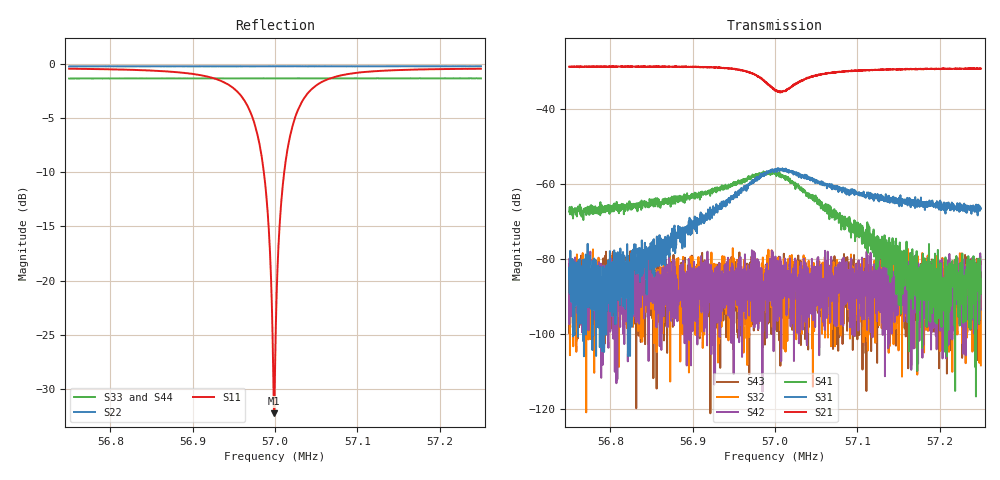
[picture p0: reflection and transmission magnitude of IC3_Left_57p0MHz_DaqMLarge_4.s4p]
#  HZ  S  DB  R  50.00
! Rohde & Schwarz Vector Network Analyzer
! Rohde-Schwarz,ZNB8-4Port,1311601044102961,2.82
! Created: UTC 2/12/2019, 1:26:48 PM
! freq[Hz]  db:S11  ang:S11  db:S12  ang:S12  db:S13  ang:S13  db:S14  ang:S14
!  db:S21  ang:S21  db:S22  ang:S22  db:S23  ang:S23  db:S24  ang:S24
!  db:S31  ang:S31  db:S32  ang:S32  db:S33  ang:S33  db:S34  ang:S34
!  db:S41  ang:S41  db:S42  ang:S42  db:S43  ang:S43  db:S44  ang:S44
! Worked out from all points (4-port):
!   2001 points, 56.75 MHz to 57.25 MHz, reference 50 ohm
!   strongest paths, dB at 56.75 MHz, 56.875 MHz, 57 MHz, 57.125 MHz, 57.25 MHz:
!     S21: -28.7, -28.8, -34.9, -29.5, -29.2
!     S31: -85.2, -76.6, -56.1, -63.0, -66.6
!     S41: -67.4, -64.1, -57.1, -74.9, -89.3
!     S42: -85.4, -94.8, -88.0, -80.6, -93.6
!     S32: -82.7, -91.5, -93.7, -84.6, -108.4
!     S43: -82.2, -90.2, -88.3, -89.4, -80.7
!   lowest |S11| = -32.2 dB at 56.999 MHz (marker M1), VSWR 1.05, Z = 52.1 + j1.39 ohm
!   |S11| at or under -10 dB: 56.98645 MHz to 57.01119 MHz (24.74 kHz wide, 0.0434 % of centre)
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5.675e7  -0.46 -134.1  -28.73 60.4  -90.02 10.2  -67.00 -150.0
         -28.74 59.7  -0.25 75.2  -103.82 -33.2  -92.83 -11.8
         -85.23 120.1  -82.65 144.6  -1.37 24.2  -84.18 152.5
         -67.40 -150.5  -85.40 86.3  -82.24 -47.3  -1.37 17.3
5.696125e7  -3.22 176.1  -29.74 34.2  -61.34 -20.7  -59.88 167.2
            -29.80 34.1  -0.25 71.6  -109.88 68.1  -83.95 12.3
            -61.79 -21.3  -86.14 90.4  -1.36 21.8  -89.67 -125.7
            -58.99 170.9  -86.74 41.0  -96.73 11.2  -1.36 14.8
5.698675e7  -10.18 144.3  -32.42 26.9  -57.48 -45.1  -57.21 140.4
            -32.58 27.4  -0.24 71.2  -89.10 -107.0  -83.11 -6.2
            -57.41 -42.5  -82.94 -177.6  -1.35 21.5  -90.25 2.1
            -57.53 141.0  -87.06 46.8  -86.18 -138.0  -1.36 14.5
5.6999e7  -32.23 33.1  -34.79 35.9  -56.16 -63.9  -56.96 124.6
          -34.79 34.4  -0.24 71.0  -81.99 107.0  -84.30 10.8
          -56.23 -65.9  -85.57 176.8  -1.35 21.3  -84.39 -55.0
          -57.17 123.9  -86.41 -49.4  -88.56 154.3  -1.35 14.3
5.701125e7  -9.96 -67.1  -35.22 54.8  -56.25 -84.8  -58.06 101.2
            -35.25 56.8  -0.23 70.8  -93.91 -21.0  -82.79 141.7
            -56.10 -83.5  -87.92 87.8  -1.35 21.2  -82.95 -112.3
            -58.55 101.8  -89.30 -75.6  -93.96 -3.7  -1.36 14.2
5.703675e7  -3.02 -99.7  -32.03 68.5  -57.86 -113.2  -62.18 74.8
            -32.02 69.3  -0.25 70.3  -92.80 -54.5  -82.55 -127.5
            -58.14 -114.6  -91.04 -24.6  -1.35 20.9  -95.27 108.6
            -62.04 76.7  -81.01 -45.6  -99.37 -157.4  -1.36 13.9
5.725e7  -0.47 -150.5  -29.26 47.9  -66.55 -158.6  -79.75 -106.4
         -29.22 48.6  -0.24 66.8  -88.15 152.4  -91.42 18.0
         -66.57 -147.0  -108.42 158.8  -1.36 18.4  -103.19 117.4
         -89.27 -152.7  -93.55 -100.2  -80.67 140.0  -1.36 11.3
